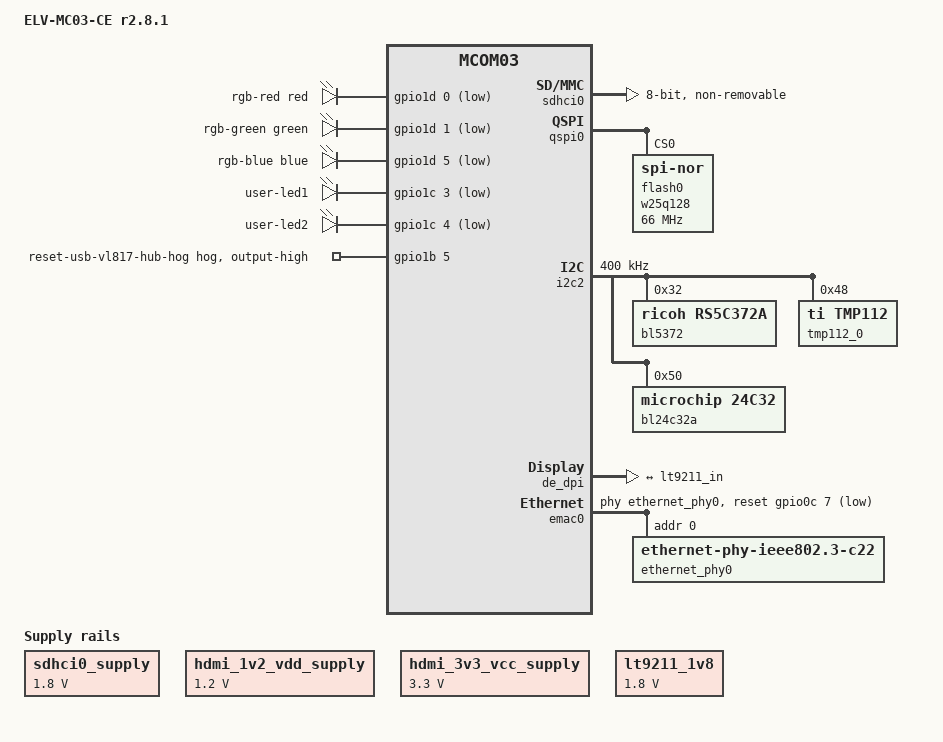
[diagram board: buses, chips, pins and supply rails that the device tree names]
// SPDX-License-Identifier: GPL-2.0+
// Copyright 2024 RnD Center "ELVEES", JSC

/dts-v1/;

#include <dt-bindings/leds/common.h>

#include "mcom03.dtsi"

/ {
	model = "ELV-MC03-CE r2.8.1";
	compatible = "elvees,elvmc03ce-r2.8.1",
		     "elvees,elvmc03ce",
		     "elvees,mcom03";

	elvmc03ce-leds {
		compatible = "gpio-leds";

		rgb-red {
			gpios = <&gpio1d 0 GPIO_ACTIVE_LOW>;
			color = <LED_COLOR_ID_RED>;
			default-state = "off";
		};

		rgb-green {
			gpios = <&gpio1d 1 GPIO_ACTIVE_LOW>;
			color = <LED_COLOR_ID_GREEN>;
			default-state = "off";
		};

		rgb-blue {
			gpios = <&gpio1d 5 GPIO_ACTIVE_LOW>;
			color = <LED_COLOR_ID_BLUE>;
			default-state = "off";
		};

		user-led1 {
			gpios = <&gpio1c 3 GPIO_ACTIVE_LOW>;
			default-state = "on";
			linux,default-trigger = "heartbeat";
		};

		user-led2 {
			gpios = <&gpio1c 4 GPIO_ACTIVE_LOW>;
			default-state = "off";
		};
	};

	sdhci0_supply: regulator@0 {
		compatible = "regulator-fixed";
		regulator-name = "sdhci0-supply";
		regulator-min-microvolt = <1800000>;
		regulator-max-microvolt = <1800000>;
		regulator-always-on;
	};

	hdmi_1v2_vdd_supply: regulator@01 {
		compatible = "regulator-fixed";
		regulator-name = "hdmi-vdd-1.2v";
		regulator-min-microvolt = <1200000>;
		regulator-max-microvolt = <1200000>;
		regulator-always-on;
	};

	hdmi_3v3_vcc_supply: regulator@02 {
		compatible = "regulator-fixed";
		regulator-name = "hdmi-vcc-3.3v";
		regulator-min-microvolt = <3300000>;
		regulator-max-microvolt = <3300000>;
		regulator-always-on;
	};

	lt9211_1v8: regulator@03 {
		compatible = "regulator-fixed";
		regulator-name = "rgb-lvds-vcc-1.8v";
		regulator-min-microvolt = <1800000>;
		regulator-max-microvolt = <1800000>;
		regulator-always-on;
	};

	hdmi_sound: hdmi-sound {
		compatible = "simple-audio-card";
		simple-audio-card,name = "hdmi-audio";
		simple-audio-card,format = "i2s";
		simple-audio-card,bitclock-master = <&dailink0_master>;
		simple-audio-card,frame-master = <&dailink0_master>;
		simple-audio-card,continuous-clock;
		status = "disabled";

		dailink0_master: simple-audio-card,cpu {
			sound-dai = <&i2s0>;
		};

		simple-audio-card,codec {
			sound-dai = <&lt9611uxc>;
		};
	};
};

&gpio0a {
	gpio-line-names = "I2C0_SMBALERT", "nPCIE_WAKE", "UART3_CTS", "INT_HDMI",
		"INT_ETH", "RTC_INT", "INT_LVDS", "UART3_RTS";
};

&gpio0b {
	gpio-line-names = "UART3_RX", "UART3_TX", "SLEEP#", "nPWRBTN",
		"GPIO1", "TPM_PP", "LVDS_BLEN", "SDR_h1v8-l1v5";
};

&gpio0c {
	gpio-line-names = "GPI0", "GPI3", "LVDS_VDD_EN", "GPO1",
		"HDMI_nRST", "LID#", "LVDS_nRST", "RST_ETH#";
};

&gpio0d {
	gpio-line-names = "SUS_STAT#", "BATLOW#", "SUS_S4#", "I2C0_SCL",
		"I2C0_SDA", "GPI2", "SUS_S3#", "SUS_S5#";
};

&gpio1a {
	gpio-line-names = "I2C_CK", "I2C_DAT", "I2C2_SCL", "I2C2_SDA",
		"I2C3_SCL", "I2C3_SDA", "WAKE1#", "FAN_TACHINp";
};

&gpio1b {
	gpio-line-names = "I2S_CLK", "I2S_WS", "I2S_SDO", "HDA_RST#",
		"", "USB_HUB_RST#", "GPIO2", "GPIO0";

	reset-usb-vl817-hub-hog {
		gpio-hog;
		gpios = <5 GPIO_ACTIVE_HIGH>;
		output-high;
	};
};

&gpio1c {
	gpio-line-names = "SPI_SCK", "SPI_MOSI", "SPI_MISO", "nUSER_LED1",
		"nUSER_LED2", "SPI_CS#", "GPI1", "SATA_PERST";
};

&gpio1d {
	gpio-line-names = "nLED-R", "nLED-G", "LVDS_BLT_CTRL", "SPKR",
		"FAN_PWMOUTp", "nLED-B", "THRM#", "THRMTRIP#";
};

/* Connected to eMMC */
&sdhci0 {
	status = "okay";

	non-removable;
	bus-width = <8>;

	vqmmc-supply = <&sdhci0_supply>;
};

&qspi0 {
	status = "okay";

	flash0: w25q128@0 {
		#address-cells = <1>;
		#size-cells = <1>;
		compatible = "jedec,spi-nor", "spi-flash";
		reg = <0x0>;
		/* This is the highest frequency at which all commands are
		 * supported by the flash device.
		 */
		spi-max-frequency = <66000000>;
		m25p,fast-read;
	};
};

&i2c2 {
	clock-frequency = <400000>;
	status = "okay";

	bl5372: rtc@32 {
		compatible = "ricoh,rs5c372a";
		reg = <0x32>;
	};

	tmp112_0: temperature-sensor@48 {
		compatible = "ti,tmp112";
		reg = <0x48>;
	};

	bl24c32a: eeprom@50 {
		compatible = "microchip,24c32", "atmel,24c32";
		reg = <0x50>;
	};

	lt9611uxc: hdmi-bridge@2b {
		status = "disabled";

		lontium,dsi-mode-video-burst;
		lontium,dsi-clock-non-continuous;

		compatible = "lontium,lt9611uxc";
		reg = <0x2b>;

		vdd-supply = <&hdmi_1v2_vdd_supply>;
		vcc-supply = <&hdmi_3v3_vcc_supply>;
		#sound-dai-cells = <0>;

		reset-gpios = <&gpio0c 4 GPIO_ACTIVE_HIGH>;
		interrupts-extended = <&gpio0a 3 IRQ_TYPE_EDGE_FALLING>;

		ports {
			#address-cells = <1>;
			#size-cells = <0>;

			port@0 {
				reg = <0>;
				lt9611_in_p0: endpoint {
					remote-endpoint = <&dsi_out>;
				};
			};
		};
	};

	lt9211: rgb-lvds-bridge@2d {
		compatible = "lontium,lt9211";
		reg = <0x2d>;
		status = "disabled";

		reset-gpios = <&gpio0c 6 GPIO_ACTIVE_HIGH>;
		interrupts-extended = <&gpio0a 6 IRQ_TYPE_EDGE_FALLING>;

		vccio-supply = <&lt9211_1v8>;

		ports {
			#address-cells = <1>;
			#size-cells = <0>;

			// rgb
			port@0 {
				#address-cells = <1>;
				#size-cells = <0>;
				reg = <0>;

				lt9211_in: endpoint@2 {
					reg = <2>;
					remote-endpoint = <&rgb_out>;
				};
			};
		};
	};
};

&i2c3 {
	status = "disabled";
	/* On MCom-03 video sensors are handled by userspace drivers and are
	 * not described in DeviceTree. Limit clock-frequency to 100 kHz because
	 * this is maximum frequency for many sensors (for example OV5647). */
	clock-frequency = <100000>;

	i2c-switch@70 {
		compatible = "nxp,pca9546";
		reg = <0x70>;
		#address-cells = <1>;
		#size-cells = <0>;

		i2c_cam0: i2c3@0 {
			#address-cells = <1>;
			#size-cells = <0>;
			reg = <0>;
		};

		lvds_did: i2c3@2 {
			#address-cells = <1>;
			#size-cells = <0>;
			reg = <2>;
		};
	};
};

&de_dsi {
	dsi-min-clock-frequency = <275000000>;
	status = "disabled";

	ports {
		port@1 {
			reg = <1>;
			dsi_out: endpoint {
				remote-endpoint = <&lt9611_in_p0>;
			};
		};
	};
};

&dp {
	assigned-clocks = <&media_clocks CLK_MEDIA_UCG1_DISP_A>,
			  <&media_clocks CLK_MEDIA_UCG1_DISP_M>;
	assigned-clock-rates = <594000000 297000000>;
};

&de_dpi {
	ports {
		port@1 {
			reg = <1>;

			rgb_out: endpoint {
				remote-endpoint = <&lt9211_in>;
			};
		};
	};
};

/* PCIe0 is connected to SATA controller. */
sata: &pcie0 { };

&emac0 {
	phy-handle = <&ethernet_phy0>;
	reset-gpios = <&gpio0c 7 GPIO_ACTIVE_LOW>;

	ethernet_phy0: ethernet-phy@0 {
		compatible = "ethernet-phy-ieee802.3-c22";
		reg = <0x0>;

		motorcomm,clk-out-frequency-hz = <0>;
		rx-internal-delay-ps = <1950>;
		tx-internal-delay-ps = <1350>;
	};
};
